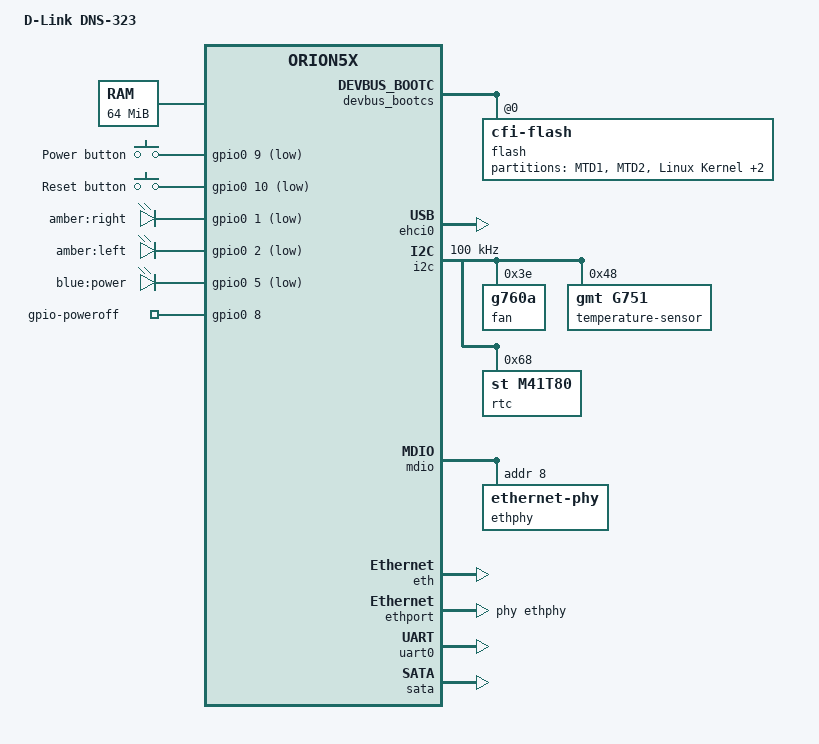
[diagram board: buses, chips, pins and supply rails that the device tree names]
// SPDX-License-Identifier: GPL-2.0-only
/*
 * Copyright (C) 2022 Mauri Sandberg <maukka@ext.kapsi.fi>
 *
 */

/ {
	model = "D-Link DNS-323";
	compatible = "dlink,dns323", "marvell,orion5x";

	aliases {
		serial0 = &uart0;
	};

	memory {
		device_type = "memory";
		reg = <0x00000000 0x4000000>; /* 64 MB */
	};

	chosen {
		stdout-path = "serial0:115200n8";
		bootargs = "console=ttyS0,115200n8 earlyprintk";
	};

	soc {
		ranges = <MBUS_ID(0xf0, 0x01) 0 0xf1000000 0x100000>,  /* on-chip peripheral registers */
			 <MBUS_ID(0x09, 0x00) 0 0xf2200000 0x800>,     /* SRAM for crypto */
			 <MBUS_ID(0x01, 0x0f) 0 0xf4000000 0x800000>;  /* device bus mapping (boot) */

		/delete-node/ devbus-cs0;
		/delete-node/ devbus-cs1;
		/delete-node/ devbus-cs2;

		internal-regs {
			/delete-node/ dma-controller@60900;  /* xor */
			/delete-node/ ehci@a0000;            /* ehci1 */
			/delete-node/ serial@12100;          /* uart1 */
			/delete-node/ spi@10600;
		};
	};

	gpio-keys {
		compatible = "gpio-keys";
		pinctrl-0 = <&pmx_gpio_keys>;
		pinctrl-names = "default";

		key-0 {
			label = "Power button";
			linux,code = <KEY_POWER>;
			gpios = <&gpio0 9 GPIO_ACTIVE_LOW>;
		};

		key-1 {
			label = "Reset button";
			linux,code = <KEY_RESTART>;
			gpios = <&gpio0 10 GPIO_ACTIVE_LOW>;
		};
	};

	gpio-leds {
		compatible = "gpio-leds";
		pinctrl-0 = <&pmx_gpio_leds>;
		pinctrl-names = "default";

		led-0 {
			label = "amber:right";
			gpios = <&gpio0 1 GPIO_ACTIVE_LOW>;
		};

		led-1 {
			label = "amber:left";
			gpios = <&gpio0 2 GPIO_ACTIVE_LOW>;
		};

		led-2 {
			label = "blue:power";
			gpios = <&gpio0 5 GPIO_ACTIVE_LOW>;
			default-state = "on";
		};
	};

	gpio-poweroff {
		compatible = "gpio-poweroff";
		pinctrl-0 = <&pmx_power_off>;
		pinctrl-names = "default";

		gpios = <&gpio0 8 GPIO_ACTIVE_HIGH>;
		timeout-ms = <3000>;
	};
};

&devbus_bootcs {
	status = "okay";
	devbus,keep-config;

	flash@0 {
		compatible = "cfi-flash";
		reg = <0 0x800000>;
		bank-width = <1>;

		partitions {
			compatible = "fixed-partitions";
			#address-cells = <1>;
			#size-cells = <1>;

			partition@0 {
				label = "MTD1";
				reg = <0x000000 0x010000>;
				read-only;
			};

			partition@10000 {
				label = "MTD2";
				reg = <0x010000 0x010000>;
				read-only;
			};

			partition@20000 {
				label = "Linux Kernel";
				reg = <0x020000 0x180000>;
			};

			partition@1a0000 {
				label = "File System";
				reg = <0x1a0000 0x630000>;
			};

			uboot: partition@7d0000 {
				label = "U-boot";
				reg = <0x7d0000 0x030000>;
				read-only;
			};
		};
	};
};

&ehci0 {
	status = "okay";
};

&i2c {
	status = "okay";
	clock-frequency = <100000>;

	/* fan speed PWM */
	fan@3e {
		compatible = "g760a";
		reg = <0x3e>;
	};

	/* temp sensor and thermal watchdog */
	temperature-sensor@48 {
		compatible = "gmt,g751";
		reg = <0x48>;
	};

	/* RTC w/ alarm */
	rtc@68 {
		compatible = "st,m41t80";
		reg = <0x68>;
	};
};

&mdio {
	status = "okay";

	ethphy: ethernet-phy {
		reg = <8>;
	};
};

&eth {
	status = "okay";
	pinctrl-0 = <&pmx_ge>;
	pinctrl-names = "default";
};

&ethport {
	phy-handle = <&ethphy>;
};

&uart0 {
	status = "okay";
};

&pinctrl {
	pmx_gpio_leds: pmx-gpio-leds {
		marvell,pins = "mpp1", "mpp2", "mpp5";
		marvell,function = "gpio";
	};

	pmx_gpio_misc: pmx-gpio-misc {
		/* set marvell,pins in board file */
		marvell,function = "gpio";
	};

	pmx_power_off: pmx-power-off {
		marvell,pins = "mpp8";
		marvell,function = "gpio";
	};

	pmx_gpio_keys: pmx-gpio-keys {
		marvell,pins = "mpp9", "mpp10";
		marvell,function = "gpio";
	};

	pmx_ge: pmx-ge {
		marvell,function = "ge";
	};
};

&sata {
	pinctrl-0 = <&pmx_sata0 &pmx_sata1>;
	pinctrl-names = "default";
	status = "okay";
	nr-ports = <2>;
};
